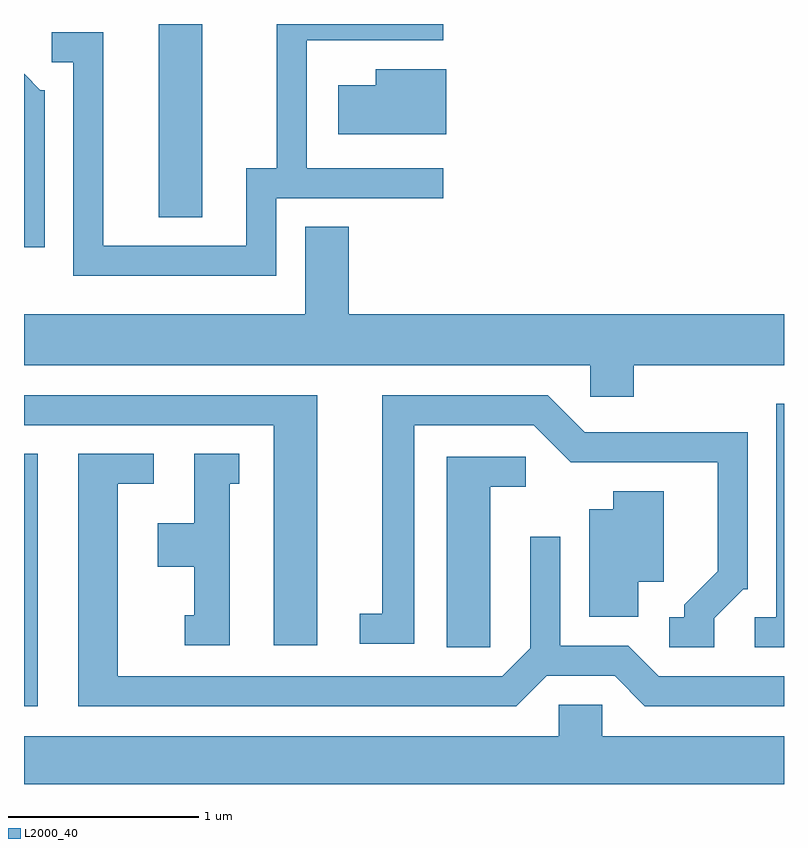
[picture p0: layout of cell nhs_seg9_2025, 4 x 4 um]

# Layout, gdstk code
import gdstk
lib = gdstk.Library(unit=1e-6, precision=1e-09)
def R(c, l, rs):  # rectangles x0, y0, x1, y1
    for r in rs: c.add(gdstk.rectangle(r[:2], r[2:], *l))
def P(c, l, *ps):  # polygons
    for p in ps: c.add(gdstk.Polygon(p, *l))
L2000_40 = (2000, 40)

nhs_seg9_2025 = lib.new_cell('nhs_seg9_2025')
R(nhs_seg9_2025, L2000_40, [(243.611,2058.841,243.684,2060.169), (244.321,2061.416,244.549,2062.432)])
P(nhs_seg9_2025, L2000_40, [(244.939,2061.516),(245.818,2061.516),(245.818,2061.674),(245.099,2061.674),(245.099,2062.346),(245.818,2062.346),(245.818,2062.432),(244.941,2062.432),(244.941,2061.674),(244.781,2061.674),(244.781,2061.264),(244.029,2061.264),(244.029,2062.389),(243.758,2062.389),(243.758,2062.231),(243.871,2062.231),(243.871,2061.106),(244.939,2061.106)],
  [(245.834,2062.194),(245.461,2062.194),(245.461,2062.109),(245.266,2062.109),(245.266,2061.851),(245.834,2061.851)],
  [(243.719,2062.084),(243.697,2062.084),(243.611,2062.17),(243.611,2061.256),(243.719,2061.256)],
  [(246.819,2060.636),(247.611,2060.636),(247.611,2060.904),(245.319,2060.904),(245.319,2061.364),(245.091,2061.364),(245.091,2060.904),(243.611,2060.904),(243.611,2060.636),(246.591,2060.636),(246.591,2060.471),(246.819,2060.471)],
  [(247.244,2059.304),(247.397,2059.456),(247.419,2059.456),(247.419,2060.284),(246.562,2060.284),(246.367,2060.479),(245.496,2060.479),(245.496,2059.329),(245.378,2059.329),(245.378,2059.171),(245.664,2059.171),(245.664,2060.321),(246.294,2060.321),(246.489,2060.126),(247.261,2060.126),(247.261,2059.552),(247.086,2059.376),(247.086,2059.309),(247.008,2059.309),(247.008,2059.151),(247.244,2059.151)],
  [(245.154,2060.479),(243.611,2060.479),(243.611,2060.321),(244.926,2060.321),(244.926,2059.161),(245.154,2059.161)],
  [(247.611,2060.434),(247.571,2060.434),(247.571,2059.309),(247.458,2059.309),(247.458,2059.151),(247.611,2059.151)],
  [(246.362,2059.001),(246.719,2059.001),(246.879,2058.841),(247.611,2058.841),(247.611,2058.999),(246.952,2058.999),(246.792,2059.159),(246.434,2059.159),(246.434,2059.733),(246.276,2059.733),(246.276,2059.146),(246.129,2058.999),(244.104,2058.999),(244.104,2060.011),(244.293,2060.011),(244.293,2060.169),(243.896,2060.169),(243.896,2058.841),(246.202,2058.841)],
  [(244.694,2060.011),(244.743,2060.011),(244.743,2060.169),(244.506,2060.169),(244.506,2059.804),(244.316,2059.804),(244.316,2059.576),(244.506,2059.576),(244.506,2059.319),(244.458,2059.319),(244.458,2059.161),(244.694,2059.161)],
  [(246.064,2059.996),(246.253,2059.996),(246.253,2060.154),(245.836,2060.154),(245.836,2059.151),(246.064,2059.151)],
  [(246.844,2059.496),(246.979,2059.496),(246.979,2059.974),(246.711,2059.974),(246.711,2059.879),(246.586,2059.879),(246.586,2059.311),(246.844,2059.311)],
  [(247.611,2058.684),(246.654,2058.684),(246.654,2058.849),(246.426,2058.849),(246.426,2058.684),(243.611,2058.684),(243.611,2058.432),(247.611,2058.432)])

lib.write_gds('nhs_seg9_2025.gds')
